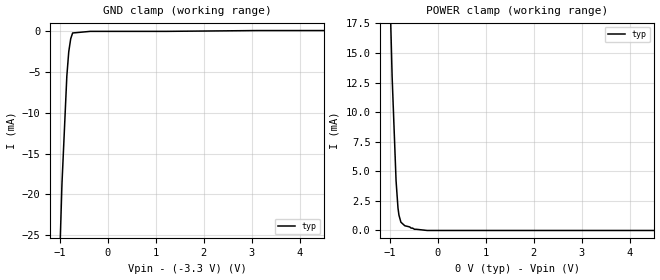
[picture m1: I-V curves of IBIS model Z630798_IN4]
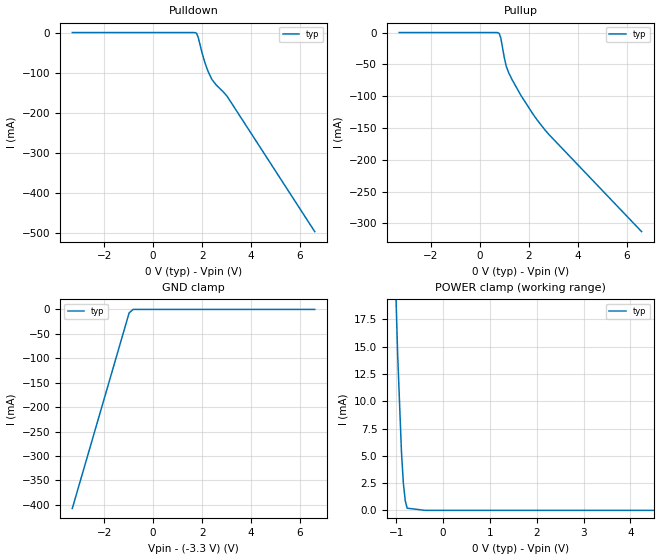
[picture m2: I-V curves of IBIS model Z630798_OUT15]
| YOU ARE ONLY AUTHORIZED TO USE THIS SOFTWARE
| ACCORDING TO LICENSOR'S LICENSE RESTRICTIONS.
[IBIS Ver] 3.1
[File Name] mc10ep29dt_-33.ibs
[File Rev] 1.0
[Source] Derived from mc10ep57dt_-33.ibs Measured and
|   created by ICX Technology
[Date] 1/13/2004
[Copyright]
| (C) COPYRIGHT 1993-2000
| MENTOR GRAPHICS CORPORATION
| ICX STANDARD LIBRARY, ICX PROJECT MODELING,
| ICX CUSTOM MODELING, ICX VENDOR MODEL
| ALL RIGHTS RESERVED.
| THE FOLLOWING ARE TRADEMARKS OR SERVICE MARKS OF
| MENTOR GRAPHICS CORPORATION:ICX (R), ICX STANDARD
| LIBRARY(R), ICX PROJECT MODELING(R), ICX CUSTOM
| MODELING(R), qualityIBIS(TM), MODELVIEWER(TM),
| AND MODELEDITOR(TM)
| ALL COPIES OF SOFTWARE, INCLUDING BUT NOT LIMITED TO
| ANY MODIFICATIONS, ENHANCEMENTS OR DERIVATIVE WORKS,
| MUST CONTAIN ALL MENTOR GRAPHICS CORPORATION'S
| NOTICES AND LEGENDS, INCLUDING THOSE EMBEDDED IN
| SOFTWARE AND THOSE AFFIXED TO SOFTWARE MEDIUM
| AND CONTAINER, AS RECEIVED FROM MENTOR GRAPHICS
| CORPORATION.
|  ZAP Model Builder 2.8
[Component] MC10EP29DT_-33
[Manufacturer] ON
[Package]
| variable   typ   min   max
R_pkg  .18ohms NA NA
L_pkg  4.22nH NA NA
C_pkg  .41pF NA NA
[Pin] signal_name  model_name  R_pin  L_pin C_pin
1  D0 Z630798_IN4 .185 4.57n .42p
2 _D0 Z630798_IN4 .185 4.57n .42p
3 VBB0 POWER .177 3.98n .42p
4  CLK0 Z630798_IN4 .185 4.57n .42p
5 _CLK0 Z630798_IN4 .185 4.57n .42p
6  CLK1 Z630798_IN4 .185 4.57n .42p
7 _CLK1 Z630798_IN4 .185 4.57n .42p
8  D1 Z630798_IN4 .185 4.57n .42p
9 _D1 Z630798_IN4 .185 4.57n .42p
10 VCC POWER .174 3.79n .41p
11 VEE POWER .194 5.16n .43p
12 R1 Z630798_IN4 .185 4.57n .42p
13 S1 Z630798_IN4 .185 4.57n .42p
14 _Q1 Z630798_OUT15 .171 3.6n .37p
15  Q1 Z630798_OUT15 .171 3.6n .37p
16 _Q0 Z630798_OUT15 .171 3.6n .37p
17  Q0 Z630798_OUT15 .171 3.6n .37p
18 S0 Z630798_IN4 .185 4.57n .42p
19 R0 Z630798_IN4 .185 4.57n .42p
20 VCC POWER .174 3.79n .41p
[Diff Pin] inv_pin vdiff tdelay_typ tdelay_min tdelay_max
1 2 150mv NA NA NA
4 5 150mv NA NA NA
6 7 150mv NA NA NA
8 9 150mv NA NA NA
15 14 NA .420ns .350ns .500ns
17 16 NA .420ns .350ns .500ns
| Models and submodels in the file (2): Z630798_IN4 (Input_ECL), Z630798_OUT15 (Output_ECL)
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| (C) COPYRIGHT 1993-2000
| MENTOR GRAPHICS CORPORATION
| ICX STANDARD LIBRARY, ICX PROJECT MODELING,
| ICX CUSTOM MODELING, ICX VENDOR MODEL
| ALL RIGHTS RESERVED.
| THE FOLLOWING ARE TRADEMARKS OR SERVICE MARKS OF
| MENTOR GRAPHICS CORPORATION:ICX (R), ICX STANDARD
| LIBRARY(R), ICX PROJECT MODELING(R), ICX CUSTOM
| MODELING(R), qualityIBIS(TM), MODELVIEWER(TM),
| AND MODELEDITOR(TM)
| ALL COPIES OF SOFTWARE, INCLUDING BUT NOT LIMITED TO
| ANY MODIFICATIONS, ENHANCEMENTS OR DERIVATIVE WORKS,
| MUST CONTAIN ALL MENTOR GRAPHICS CORPORATION'S
| NOTICES AND LEGENDS, INCLUDING THOSE EMBEDDED IN
| SOFTWARE AND THOSE AFFIXED TO SOFTWARE MEDIUM
| AND CONTAINER, AS RECEIVED FROM MENTOR GRAPHICS
| CORPORATION.
| Model Application Version 1.89 2/18/99.
[Model] Z630798_IN4
Model_type Input_ECL
Vinl = -1.625V
Vinh = -1.225V
C_comp 2.pF NA NA
| variable typ   min   max
[Voltage Range] -3.300V NA NA
[GND Clamp Reference] -3.300V NA NA
[POWER Clamp Reference] 0.000V NA NA
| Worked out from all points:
|   GND clamp passes 1 mA (typ) near -0.78 V on its own axis
|   POWER clamp passes 1 mA (typ) near -0.79 V on its own axis
[GND Clamp]
-3.3V     -576.8mA   NA         NA
-1.058V   -38.4mA    NA         NA
-957mV    -18.8mA    NA         NA
-855mV    -5.5mA     NA         NA
-815mV    -2.5mA     NA         NA
-774mV    -900uA     NA         NA
-734mV    -200uA     NA         NA
-367mV    0A         NA         NA
1.222V    0A         NA         NA
3.118V    100uA      NA         NA
6.6V      100uA      NA         NA
[POWER Clamp]
-3.3V     467.5mA    NA         NA
-1.034V   25.6mA     NA         NA
-953mV    13mA       NA         NA
-871mV    4.2mA      NA         NA
-831mV    1.9mA      NA         NA
-811mV    1.3mA      NA         NA
-770mV    700uA      NA         NA
-689mV    400uA      NA         NA
-587mV    300uA      NA         NA
-486.5mV  100uA      NA         NA
-223mV    0A         NA         NA
6.6V      0A         NA         NA
| (C) COPYRIGHT 1993-2000
| MENTOR GRAPHICS CORPORATION
| ICX STANDARD LIBRARY, ICX PROJECT MODELING,
| ICX CUSTOM MODELING, ICX VENDOR MODEL
| ALL RIGHTS RESERVED.
| THE FOLLOWING ARE TRADEMARKS OR SERVICE MARKS OF
| MENTOR GRAPHICS CORPORATION:ICX (R), ICX STANDARD
| LIBRARY(R), ICX PROJECT MODELING(R), ICX CUSTOM
| MODELING(R), qualityIBIS(TM), MODELVIEWER(TM),
| AND MODELEDITOR(TM)
| ALL COPIES OF SOFTWARE, INCLUDING BUT NOT LIMITED TO
| ANY MODIFICATIONS, ENHANCEMENTS OR DERIVATIVE WORKS,
| MUST CONTAIN ALL MENTOR GRAPHICS CORPORATION'S
| NOTICES AND LEGENDS, INCLUDING THOSE EMBEDDED IN
| SOFTWARE AND THOSE AFFIXED TO SOFTWARE MEDIUM
| AND CONTAINER, AS RECEIVED FROM MENTOR GRAPHICS
| CORPORATION.
| Model Application Version 1.89 2/18/99.
[Model] Z630798_OUT15
Model_type Output_ECL
Vref=-2.000V
Rref=50.00ohms
Cref=0.000F
Vmeas=-1.345V
C_comp 2.0pF NA NA
| variable typ   min   max
[Voltage Range] -3.300V NA NA
[POWER Clamp Reference] 0.000V NA NA
[Pullup Reference] 0.000V NA NA
[Pulldown Reference] 0.000V NA NA
[GND Clamp Reference] -3.300V NA NA
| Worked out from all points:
|   GND clamp passes 1 mA (typ) near -0.84 V on its own axis
|   POWER clamp passes 1 mA (typ) near -0.81 V on its own axis
[GND Clamp]
-3.3V     -407.6mA   NA         NA
-977mV    -6.921mA   NA         NA
-814.2mV  0A         NA         NA
6.6V      0A         NA         NA
[Pulldown]
-3.3V     0A         NA         NA
1.642V    0A         NA         NA
1.763V    -1.7mA     NA         NA
1.844V    -12.6mA    NA         NA
2.007V    -52.6mA    NA         NA
2.128V    -77.5mA    NA         NA
2.25V     -97.7mA    NA         NA
2.392V    -116mA     NA         NA
2.574V    -130.6mA   NA         NA
3.02V     -158.7mA   NA         NA
6.6V      -496.4mA   NA         NA
[Pullup]
-3.3V     0A         NA         NA
770mV     -900uA     NA         NA
790mV     -1.8mA     NA         NA
851mV     -8.6mA     NA         NA
993mV     -39.5mA    NA         NA
1.074V    -53.2mA    NA         NA
1.175V    -63.4mA    NA         NA
1.317V    -74.5mA    NA         NA
1.662V    -98.2mA    NA         NA
2.331V    -137.3mA   NA         NA
2.797V    -159.6mA   NA         NA
6.6V      -313.1mA   NA         NA
[POWER Clamp]
-3.3V     428.9mA    NA         NA
-1.074V   29.3mA     NA         NA
-973mV    14.3mA     NA         NA
-892mV    5.4mA      NA         NA
-851mV    2.5mA      NA         NA
-811mV    900uA      NA         NA
-770mV    200uA      NA         NA
-385mV    0A         NA         NA
6.6V      0A         NA         NA
[Ramp]
| variable typ min max
dV/dt_r 527.3m/194.07p NA NA
dV/dt_f 527.3m/185.81p NA NA
R_load = 50.00Ohms
